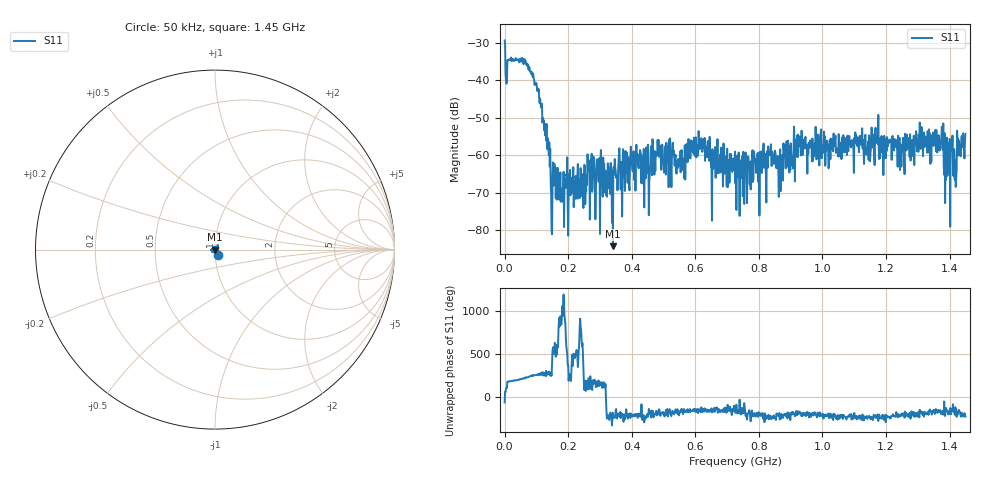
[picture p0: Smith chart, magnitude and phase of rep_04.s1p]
! Created with skrf 1.11.0 (http://scikit-rf.org).
# Hz S RI R 50.0
!freq ReS11 ImS11
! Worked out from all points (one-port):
!   1001 points, 50 kHz to 1.45 GHz, reference 50 ohm
!   lowest |S11| = -84.3 dB at 340.8 MHz (marker M1), VSWR 1.00, Z = 50 + j0.0006 ohm
!   |S11| at or under -10 dB: start of sweep to end of sweep
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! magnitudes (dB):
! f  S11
! 50 kHz  -29.4
! 84.15 MHz  -38.4
! 110.2 MHz  -46.0
! 149.4 MHz  -81.1
! 181.3 MHz  -72.4
! 242.2 MHz  -70.1
! 266.8 MHz  -61.4
! 340.8 MHz  -84.3
! 362.5 MHz  -61.3
! 420.5 MHz  -62.9
! 446.6 MHz  -60.2
! 482.9 MHz  -58.4
! 543.8 MHz  -61.5
! 617.7 MHz  -58.2
! 656.9 MHz  -63.6
! 725 MHz  -59.1
! 832.3 MHz  -60.1
! 868.6 MHz  -69.6
! 884.5 MHz  -63.5
! 906.3 MHz  -61.1
! 928 MHz  -55.0
! 1.088 GHz  -57.2
! 1.251 GHz  -57.5
! 1.269 GHz  -57.1
! 1.373 GHz  -56.7
! 1.389 GHz  -66.5
! 1.415 GHz  -58.8
! 1.45 GHz  -54.3
